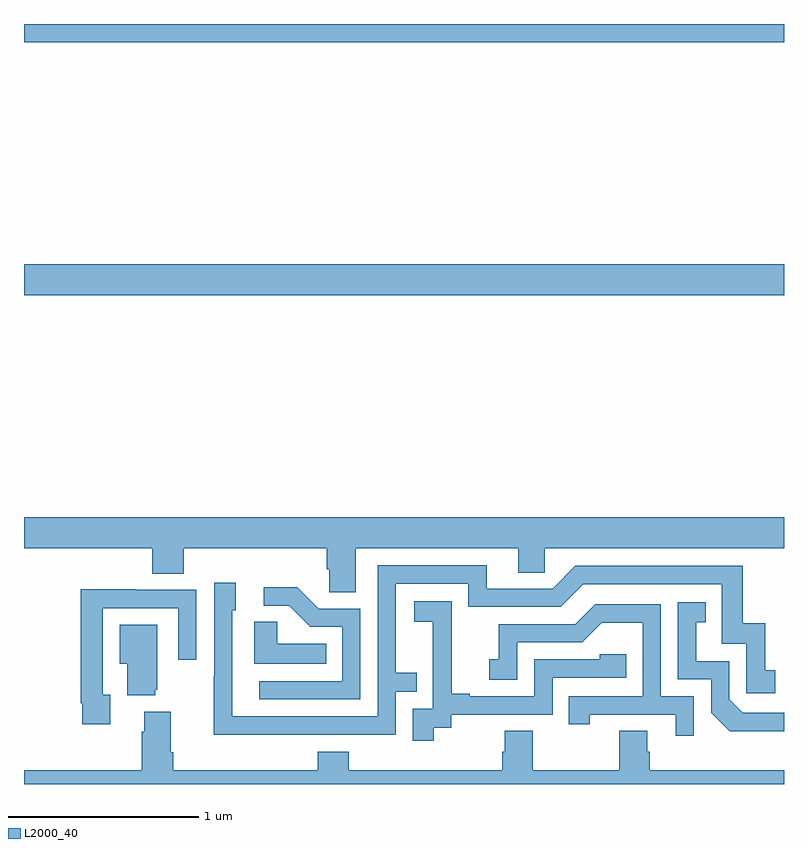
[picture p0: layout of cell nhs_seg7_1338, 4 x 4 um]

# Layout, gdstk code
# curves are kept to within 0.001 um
import gdstk
lib = gdstk.Library(unit=1e-6, precision=1e-09)
def R(c, l, rs):  # rectangles x0, y0, x1, y1
    for r in rs: c.add(gdstk.rectangle(r[:2], r[2:], *l))
def P(c, l, *ps):  # polygons
    for p in ps: c.add(gdstk.Polygon(p, *l))
L2000_40 = (2000, 40)

nhs_seg7_1338 = lib.new_cell('nhs_seg7_1338')
R(nhs_seg7_1338, L2000_40, [(203,1044.572,207,1044.736), (203,1045.904,207,1046)])
P(nhs_seg7_1338, L2000_40, [(204.745,1043.24),(205.601,1043.24),(205.601,1043.113),(205.74,1043.113),(205.74,1043.24),(207,1043.24),(207,1043.404),(203,1043.404),(203,1043.24),(203.675,1043.24),(203.675,1043.107),(203.84,1043.107),(203.84,1043.24),(204.593,1043.24),(204.593,1043.131),(204.606,1043.131),(204.606,1043.008),(204.745,1043.008)],
  [(204.461,1042.26),(204.957,1042.26),(204.957,1042.485),(205.067,1042.485),(205.067,1042.586),(204.957,1042.586),(204.957,1043.055),(205.338,1043.055),(205.338,1042.932),(205.824,1042.932),(205.944,1043.052),(206.673,1043.052),(206.673,1042.737),(206.802,1042.737),(206.802,1042.478),(206.953,1042.478),(206.953,1042.599),(206.9,1042.599),(206.9,1042.846),(206.782,1042.846),(206.782,1043.148),(205.902,1043.148),(205.782,1043.028),(205.435,1043.028),(205.435,1043.151),(204.861,1043.151),(204.861,1042.356),(204.096,1042.356),(204.096,1042.914),(204.115,1042.914),(204.115,1043.059),(204,1043.059),(204,1042.565),(203.998,1042.565),(203.998,1042.259)],
  [(204.771,1042.923),(204.552,1042.923),(204.439,1043.036),(204.261,1043.036),(204.261,1042.938),(204.395,1042.938),(204.506,1042.827),(204.675,1042.827),(204.675,1042.542),(204.237,1042.542),(204.237,1042.446),(204.771,1042.446)],
  [(203.455,1042.47),(203.415,1042.47),(203.415,1042.926),(203.811,1042.926),(203.811,1042.653),(203.907,1042.653),(203.907,1043.022),(203.591,1043.022),(203.591,1043.024),(203.299,1043.024),(203.299,1042.426),(203.307,1042.426),(203.307,1042.314),(203.455,1042.314)],
  [(205.156,1042.297),(205.248,1042.297),(205.248,1042.365),(205.782,1042.365),(205.782,1042.56),(206.171,1042.56),(206.171,1042.683),(206.031,1042.683),(206.031,1042.656),(205.686,1042.656),(205.686,1042.461),(205.345,1042.461),(205.345,1042.474),(205.25,1042.474),(205.25,1042.757),(205.251,1042.757),(205.251,1042.963),(205.053,1042.963),(205.053,1042.853),(205.151,1042.853),(205.151,1042.625),(205.152,1042.625),(205.152,1042.395),(205.047,1042.395),(205.047,1042.227),(205.156,1042.227)],
  [(207,1042.374),(206.784,1042.374),(206.712,1042.446),(206.712,1042.647),(206.539,1042.647),(206.539,1042.851),(206.588,1042.851),(206.588,1042.957),(206.442,1042.957),(206.442,1042.551),(206.616,1042.551),(206.616,1042.374),(206.714,1042.277),(207,1042.277)],
  [(206.526,1042.461),(206.352,1042.461),(206.352,1042.947),(206.006,1042.947),(205.901,1042.842),(205.498,1042.842),(205.498,1042.657),(205.449,1042.657),(205.449,1042.548),(205.596,1042.548),(205.596,1042.746),(205.938,1042.746),(206.042,1042.85),(206.256,1042.85),(206.256,1042.461),(205.867,1042.461),(205.867,1042.314),(205.978,1042.314),(205.978,1042.365),(206.429,1042.365),(206.429,1042.254),(206.526,1042.254)],
  [(204.59,1042.738),(204.333,1042.738),(204.333,1042.853),(204.212,1042.853),(204.212,1042.634),(204.59,1042.634)],
  [(203.69,1042.497),(203.701,1042.497),(203.701,1042.837),(203.504,1042.837),(203.504,1042.634),(203.543,1042.634),(203.543,1042.466),(203.69,1042.466)],
  [(207,1042.072),(206.294,1042.072),(206.294,1042.17),(206.281,1042.17),(206.281,1042.28),(206.134,1042.28),(206.134,1042.072),(205.677,1042.072),(205.677,1042.28),(205.529,1042.28),(205.529,1042.17),(205.517,1042.17),(205.517,1042.072),(204.71,1042.072),(204.71,1042.171),(204.545,1042.171),(204.545,1042.072),(203.786,1042.072),(203.786,1042.168),(203.773,1042.168),(203.773,1042.381),(203.633,1042.381),(203.633,1042.274),(203.621,1042.274),(203.621,1042.072),(203,1042.072),(203,1042),(207,1042)])

lib.write_gds('nhs_seg7_1338.gds')
